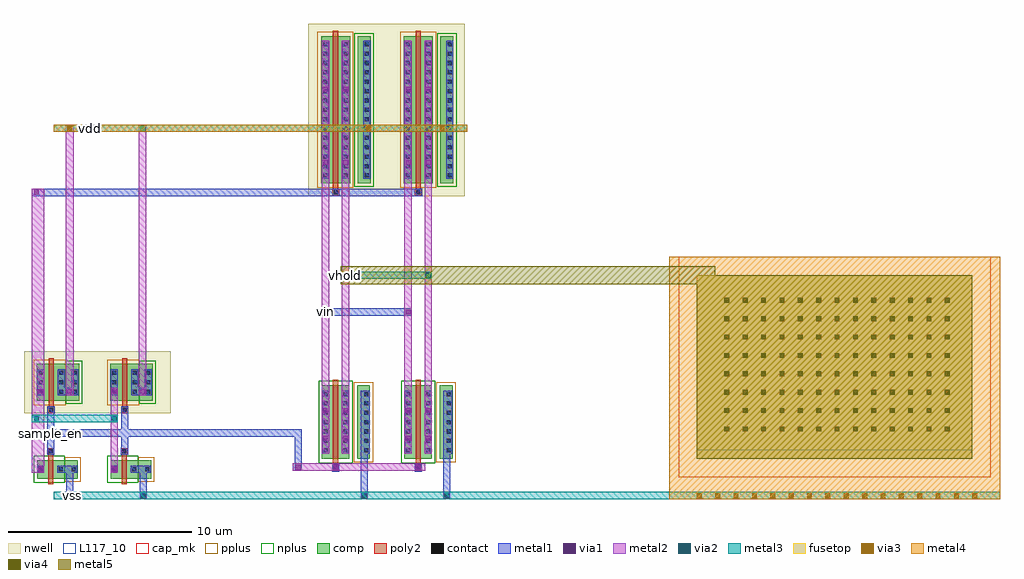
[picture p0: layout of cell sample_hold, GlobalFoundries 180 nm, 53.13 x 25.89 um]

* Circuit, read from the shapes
.subckt sample_hold sample_en vdd vhold vin vss
XM1 vss sample_en n1 vss nfet_03v3 w=1u l=0.28u m=2
XM2 vhold sample_en vin vss nfet_03v3 w=4u l=0.28u m=2
XM3 vdd sample_en n1 vdd pfet_03v3 w=2u l=0.28u m=2
XM4 vhold n1 vin vdd pfet_03v3 w=8u l=0.28u m=2
XC5 vhold vss cap_mim_2f0fF c_width=15u c_length=10u
.ends

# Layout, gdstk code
import gdstk
lib = gdstk.Library(unit=1e-6, precision=1e-09)
def R(c, l, rs):  # rectangles x0, y0, x1, y1
    for r in rs: c.add(gdstk.rectangle(r[:2], r[2:], *l))
def A(c, l, x, y, w, h, nx, ny, dx, dy):  # array of equal rectangles
    R(c, l, [(x+i*dx, y+j*dy, x+i*dx+w, y+j*dy+h) for i in range(nx) for j in range(ny)])
nwell = (21, 0)
comp = (22, 0)
poly2 = (30, 0)
pplus = (31, 0)
nplus = (32, 0)
contact = (33, 0)
metal1 = (34, 0)
via1 = (35, 0)
metal2 = (36, 0)
via2 = (38, 0)
via3 = (40, 0)
via4 = (41, 0)
metal3 = (42, 0)
metal4 = (46, 0)
fusetop = (75, 0)
metal5 = (81, 0)
cap_mk = (117, 5)
L117_10 = (117, 10)

gf180mcu_cap_mim_l_10_00 = lib.new_cell('gf180mcu.cap_mim(L=10.000,W=15.000)')

gf180mcu_nfet_l_0_280_w_ = lib.new_cell('gf180mcu.nfet(L=0.280,W=2.000,nf=1)')

c_gf180mcu_nfet_l_0_280_w_ = lib.new_cell('gf180mcu.nfet(L=0.280,W=8.000,nf=4)')

gf180mcu_pfet_l_0_280_w_ = lib.new_cell('gf180mcu.pfet(L=0.280,W=4.000,nf=2)')

c_gf180mcu_pfet_l_0_280_w_ = lib.new_cell('gf180mcu.pfet(L=0.280,W=16.000,nf=4)')

sample_hold = lib.new_cell('sample_hold')
R(sample_hold, nwell, [(-1.63,2.48,6.37,5.86), (-1.63,2.48,2.06,5.86), (2.37,2.48,6.06,5.86), (13.85,14.31,22.35,23.69), (13.85,14.31,17.85,23.69), (18.35,14.31,22.35,23.69)])
R(sample_hold, comp, [(-0.92,-1.07,-0.5,-0.07), (-0.5,-1.07,0.16,-0.07), (0.16,-1.07,0.58,-0.07), (0.58,-1.07,1.29,-0.07), (3.08,-1.07,3.5,-0.07), (3.5,-1.07,4.16,-0.07), (4.16,-1.07,4.58,-0.07), (4.58,-1.07,5.29,-0.07), (14.58,0,15,4), (15,0,15.66,4), (15.66,0,16.08,4), (16.5,0,17.2,4), (19.08,0,19.5,4), (19.5,0,20.16,4), (20.16,0,20.58,4), (21,0,21.7,4), (-0.94,3.17,-0.48,5.17), (-0.48,3.17,0.18,5.17), (0.18,3.17,0.64,5.17), (0.64,3.17,1.37,5.17), (3.06,3.17,3.52,5.17), (3.52,3.17,4.18,5.17), (4.18,3.17,4.64,5.17), (4.64,3.17,5.37,5.17), (14.54,15,15,23), (15,15,15.66,23), (15.66,15,16.12,23), (16.54,15,17.24,23), (19.04,15,19.5,23), (19.5,15,20.16,23), (20.16,15,20.62,23), (21.04,15,21.74,23)])
R(sample_hold, poly2, [(-0.31,-1.37,-0.03,0.23), (3.69,-1.37,3.97,0.23), (15.15,-0.66,15.51,-0.3), (19.65,-0.66,20.01,-0.3), (15.19,-0.3,15.47,4.3), (19.69,-0.3,19.97,4.3), (-0.35,0.23,0.01,0.59), (3.65,0.23,4.01,0.59), (-0.34,2.49,0.04,2.87), (3.66,2.49,4.04,2.87), (-0.29,2.87,-0.01,5.47), (3.71,2.87,3.99,5.47), (15.14,14.32,15.52,14.7), (19.64,14.32,20.02,14.7), (15.19,14.7,15.47,23.3), (19.69,14.7,19.97,23.3)])
R(sample_hold, pplus, [(0.58,-1.24,1.46,0.1), (4.58,-1.24,5.46,0.1), (16.32,-0.18,17.38,4.18), (20.82,-0.18,21.88,4.18), (-1.11,2.93,0.64,5.41), (2.89,2.93,4.64,5.41), (14.34,14.76,16.3,23.24), (18.84,14.76,20.8,23.24)])
R(sample_hold, nplus, [(-1.09,-1.31,0.58,0.17), (2.91,-1.31,4.58,0.17), (14.41,-0.24,16.26,4.24), (18.91,-0.24,20.76,4.24), (0.64,3,1.54,5.34), (4.64,3,5.54,5.34), (16.36,14.82,17.42,23.18), (20.86,14.82,21.92,23.18)])
A(sample_hold, contact, 14.68, 0.36, 0.22, 0.22, 1, 7, 0, 0.51)
A(sample_hold, contact, 15.76, 0.36, 0.22, 0.22, 1, 7, 0, 0.51)
A(sample_hold, contact, 16.89, 0.36, 0.22, 0.22, 1, 7, 0, 0.51)
A(sample_hold, contact, 19.18, 0.36, 0.22, 0.22, 1, 7, 0, 0.51)
A(sample_hold, contact, 20.26, 0.36, 0.22, 0.22, 1, 7, 0, 0.51)
A(sample_hold, contact, 21.39, 0.36, 0.22, 0.22, 1, 7, 0, 0.51)
A(sample_hold, contact, -0.82, 3.55, 0.22, 0.22, 1, 3, 0, 0.51)
A(sample_hold, contact, 0.3, 3.55, 0.22, 0.22, 1, 3, 0, 0.51)
A(sample_hold, contact, 1.03, 3.55, 0.22, 0.22, 1, 3, 0, 0.51)
A(sample_hold, contact, 3.18, 3.55, 0.22, 0.22, 1, 3, 0, 0.51)
A(sample_hold, contact, 4.3, 3.55, 0.22, 0.22, 1, 3, 0, 0.51)
A(sample_hold, contact, 5.03, 3.55, 0.22, 0.22, 1, 3, 0, 0.51)
A(sample_hold, contact, 14.66, 15.32, 0.22, 0.22, 1, 15, 0, 0.51)
A(sample_hold, contact, 15.78, 15.32, 0.22, 0.22, 1, 15, 0, 0.51)
A(sample_hold, contact, 16.93, 15.32, 0.22, 0.22, 1, 15, 0, 0.51)
A(sample_hold, contact, 19.16, 15.32, 0.22, 0.22, 1, 15, 0, 0.51)
A(sample_hold, contact, 20.28, 15.32, 0.22, 0.22, 1, 15, 0, 0.51)
A(sample_hold, contact, 21.43, 15.32, 0.22, 0.22, 1, 15, 0, 0.51)
R(sample_hold, contact, [(-0.82,-0.68,-0.6,-0.46), (0.26,-0.68,0.48,-0.46), (0.97,-0.68,1.19,-0.46), (3.18,-0.68,3.4,-0.46), (4.26,-0.68,4.48,-0.46), (4.97,-0.68,5.19,-0.46), (15.22,-0.59,15.44,-0.37), (19.72,-0.59,19.94,-0.37), (-0.28,0.3,-0.06,0.52), (3.72,0.3,3.94,0.52), (-0.26,2.57,-0.04,2.79), (3.74,2.57,3.96,2.79), (15.22,14.4,15.44,14.62), (19.72,14.4,19.94,14.62)])
R(sample_hold, metal1, [(0.66,-2.2,1.06,-0.38), (4.66,-2.2,5.06,-0.38), (16.7,-2.2,17.08,3.72), (21.2,-2.2,21.58,3.72), (-0.9,-0.76,-0.52,-0.38), (0.18,-0.76,1.27,-0.38), (0.18,-0.76,0.56,-0.38), (0.89,-0.76,1.27,-0.38), (3.1,-0.76,3.48,-0.38), (4.18,-0.76,5.27,-0.38), (4.18,-0.76,4.56,-0.38), (4.89,-0.76,5.27,-0.38), (15.14,-0.7,15.52,-0.27), (19.64,-0.7,20.02,-0.27), (15.14,-0.67,15.52,-0.29), (19.64,-0.67,20.02,-0.29), (13.1,-0.65,13.5,1.6), (-0.36,0.22,0.02,2.87), (-0.36,0.22,0.02,0.6), (3.64,0.22,4.02,0.6), (3.66,0.22,4.04,2.87), (14.6,0.28,14.98,3.72), (15.68,0.28,16.06,3.72), (16.81,0.28,17.19,3.72), (19.1,0.28,19.48,3.72), (20.18,0.28,20.56,3.72), (21.31,0.28,21.69,3.72), (-0.36,1.2,4.04,1.6), (4.04,1.2,13.5,1.6), (-0.34,2.49,0.04,2.87), (3.66,2.49,4.04,2.87), (-0.9,3.47,-0.52,4.87), (0.22,3.47,1.33,3.87), (0.22,3.47,0.6,4.87), (0.95,3.47,1.33,4.87), (3.1,3.47,3.48,4.87), (4.22,3.47,5.33,3.87), (4.22,3.47,4.6,4.87), (4.95,3.47,5.33,4.87), (14.58,7.8,19.48,8.2), (-1.2,14.31,20.04,14.71), (15.14,14.32,15.52,14.7), (19.64,14.32,20.02,14.7), (14.58,15.24,14.96,22.76), (15.7,15.24,16.08,22.76), (16.85,15.24,17.23,22.76), (19.08,15.24,19.46,22.76), (20.2,15.24,20.58,22.76), (21.35,15.24,21.73,22.76)])
R(sample_hold, via1, [(0.73,-2.13,0.99,-1.87), (4.73,-2.13,4.99,-1.87), (16.76,-2.13,17.02,-1.87), (21.26,-2.13,21.52,-1.87), (-0.85,-0.7,-0.59,-0.44), (3.16,-0.69,3.42,-0.43), (13.17,-0.58,13.43,-0.32), (15.2,-0.58,15.46,-0.32), (19.7,-0.58,19.96,-0.32), (14.65,1,14.91,1.26), (15.75,1,16.01,1.26), (19.15,1,19.41,1.26), (20.25,1,20.51,1.26), (14.65,2.5,14.91,2.76), (15.75,2.5,16.01,2.76), (19.15,2.5,19.41,2.76), (20.25,2.5,20.51,2.76), (-0.85,3.54,-0.59,3.8), (0.7,3.54,0.96,3.8), (3.16,3.54,3.42,3.8), (4.7,3.54,4.96,3.8), (14.65,7.87,14.91,8.13), (19.15,7.87,19.41,8.13), (-1.08,14.38,-0.82,14.64), (14.65,16,14.91,16.26), (15.75,16,16.01,16.26), (19.15,16,19.41,16.26), (20.25,16,20.51,16.26), (16.9,17.87,17.16,18.13), (21.4,17.87,21.66,18.13), (14.65,20,14.91,20.26), (15.75,20,16.01,20.26), (19.15,20,19.41,20.26), (20.25,20,20.51,20.26)])
R(sample_hold, metal2, [(0.66,-2.2,1.06,-1.8), (4.66,-2.2,5.06,-1.8), (16.7,-2.2,17.08,-1.8), (21.2,-2.2,21.58,-1.8), (-1.2,-0.76,-0.52,14.71), (3.1,-0.76,3.48,3.87), (13,-0.65,20.2,-0.25), (14.58,0.28,14.98,22.76), (15.68,0.28,16.08,22.76), (19.08,0.28,19.48,22.76), (20.18,0.28,20.58,22.76), (0.63,3.47,1.08,18.2), (4.63,3.47,5.03,18.2), (16.83,17.8,17.23,18.2), (21.33,17.8,21.73,18.2)])
R(sample_hold, via2, [(0.73,-2.13,0.99,-1.87), (4.73,-2.13,4.99,-1.87), (16.76,-2.13,17.02,-1.87), (21.26,-2.13,21.52,-1.87), (-1.08,2.07,-0.82,2.33), (3.16,2.07,3.42,2.33), (15.75,9.87,16.01,10.13), (20.25,9.87,20.51,10.13), (0.725,17.87,0.985,18.13), (4.7,17.87,4.96,18.13), (16.9,17.87,17.16,18.13), (21.4,17.87,21.66,18.13)])
A(sample_hold, via3, 35, -2.13, 0.26, 0.26, 16, 1, 1, 0)
R(sample_hold, via3, [(15.75,9.87,16.01,10.13), (0.725,17.87,0.985,18.13), (17,17.87,17.26,18.13), (21,17.87,21.26,18.13)])
A(sample_hold, via4, 36.5, 1.5, 0.26, 0.26, 13, 8, 1, 1)
R(sample_hold, via4, [(15.75,9.87,16.01,10.13)])
R(sample_hold, metal3, [(0,-2.2,51.5,-1.8), (-1.2,2,3.48,2.4), (15.68,9.8,20.58,10.2), (0,17.8,22.5,18.2)])
R(sample_hold, metal4, [(33.5,-2.2,51.5,11), (15.68,9.8,16.08,10.2), (0,17.8,22.5,18.2)])
R(sample_hold, fusetop, [(35,0,50,10)])
R(sample_hold, metal5, [(35,0,50,10), (15.6,9.5,36,10.5)])
R(sample_hold, cap_mk, [(34,-1,51,11)])
R(sample_hold, L117_10, [(35,0,50,0.5)])
sample_hold.add(gdstk.Reference(gf180mcu_cap_mim_l_10_00, (0,0)))
sample_hold.add(gdstk.Reference(gf180mcu_nfet_l_0_280_w_, (0,0)))
sample_hold.add(gdstk.Reference(c_gf180mcu_nfet_l_0_280_w_, (0,0)))
sample_hold.add(gdstk.Reference(gf180mcu_pfet_l_0_280_w_, (0,0)))
sample_hold.add(gdstk.Reference(c_gf180mcu_pfet_l_0_280_w_, (0,0)))
sample_hold.add(gdstk.Label('sample_en', (-0.2,1.4), layer=34, texttype=10))
sample_hold.add(gdstk.Label('vin', (14.78,8), layer=34, texttype=10))
sample_hold.add(gdstk.Label('vss', (1,-2), layer=42, texttype=10))
sample_hold.add(gdstk.Label('vdd', (2,18), layer=46, texttype=10))
sample_hold.add(gdstk.Label('vhold', (15.88,10), layer=81, texttype=10))

lib.write_gds('sample_hold.gds')
